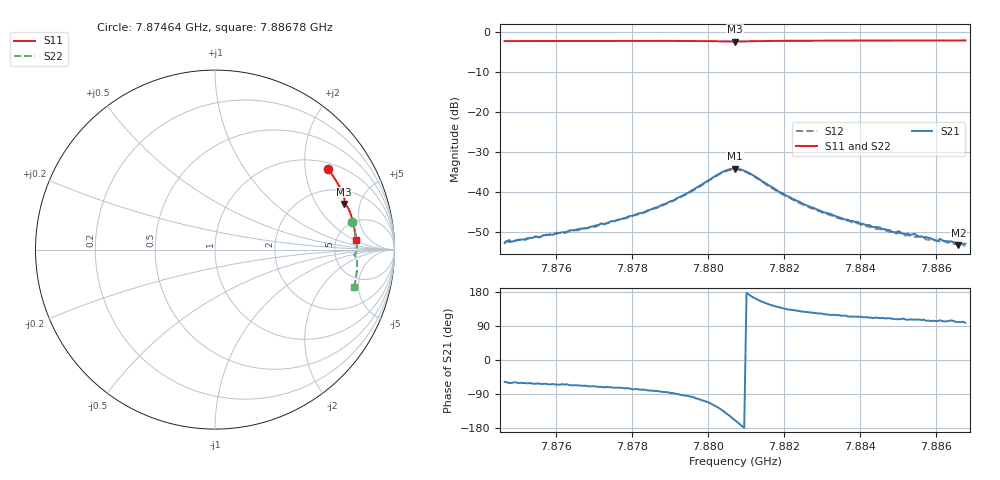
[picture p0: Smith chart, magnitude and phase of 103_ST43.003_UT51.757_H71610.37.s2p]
#  HZ  S  DB  R  50.00
! Rohde & Schwarz Vector Network Analyzer
! Rohde-Schwarz,ZNB20-2Port,1311601062101988,3.16
! Created: UTC 1/12/2023, 6:36:53 PM
! freq[Hz]  db:S11  ang:S11  db:S21  ang:S21  db:S12  ang:S12  db:S22  ang:S22
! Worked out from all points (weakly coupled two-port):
!   201 points, 7.87464 GHz to 7.88678 GHz, reference 50 ohm
!   highest |S21| = -34.20 dB at 7.88071 GHz (marker M1); lowest = -53.4 dB at 7.88659 GHz (marker M2)
!   lowest |S11| = -2.3 dB at 7.88071 GHz (marker M3), VSWR 7.44, Z = 146 + j177 ohm
!   |S11| at or under -10 dB: nowhere
!   |S22| runs from -2.2 to -1.9 dB; largest |S21 - S12| = 0.0013
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7.874645e9  -2.24 35.5  -52.89 -57.8  -52.67 -61.6  -2.14 11.5
7.874766e9  -2.24 35.1  -52.12 -60.8  -52.64 -64.7  -2.13 11.2
7.874827e9  -2.24 35.0  -52.58 -60.5  -52.52 -63.0  -2.13 11.1
7.87519e9  -2.23 34.0  -52.07 -60.6  -51.88 -62.2  -2.11 10.2
7.876707e9  -2.21 29.8  -49.25 -68.1  -49.20 -72.2  -2.08 6.7
7.877677e9  -2.19 27.2  -46.92 -72.8  -47.16 -75.9  -2.05 4.4
7.878708e9  -2.19 24.3  -43.73 -82.7  -43.89 -86.8  -2.04 1.9
7.879436e9  -2.20 22.2  -40.47 -94.2  -40.69 -97.8  -2.05 0.1
7.880346e9  -2.31 19.9  -35.24 -130.7  -35.38 -134.1  -2.15 -2.0
7.88071e9  -2.35 19.5  -34.20 -159.1  -34.42 -162.6  -2.20 -2.2
7.881074e9  -2.30 19.1  -35.25 172.8  -35.43 169.4  -2.16 -2.4
7.881862e9  -2.18 17.0  -40.00 139.2  -40.14 135.5  -2.02 -4.0
7.882772e9  -2.14 14.5  -44.01 124.5  -44.34 120.1  -1.98 -6.2
7.883621e9  -2.12 12.2  -47.01 117.2  -47.25 113.5  -1.95 -8.1
7.884774e9  -2.10 9.1  -49.61 110.3  -50.12 107.0  -1.93 -10.7
7.88532e9  -2.10 7.7  -50.85 107.4  -51.01 103.7  -1.93 -11.9
7.885441e9  -2.09 7.4  -50.58 107.0  -51.34 103.0  -1.92 -12.1
7.886047e9  -2.09 5.8  -52.40 102.5  -52.33 100.6  -1.92 -13.4
7.886108e9  -2.09 5.6  -51.81 104.9  -52.48 101.2  -1.91 -13.6
7.886533e9  -2.08 4.5  -52.79 100.3  -53.18 97.8  -1.91 -14.5
7.886593e9  -2.08 4.4  -53.40 100.0  -53.25 96.1  -1.91 -14.6
7.886775e9  -2.08 3.9  -53.03 98.1  -53.61 97.4  -1.91 -15.0
